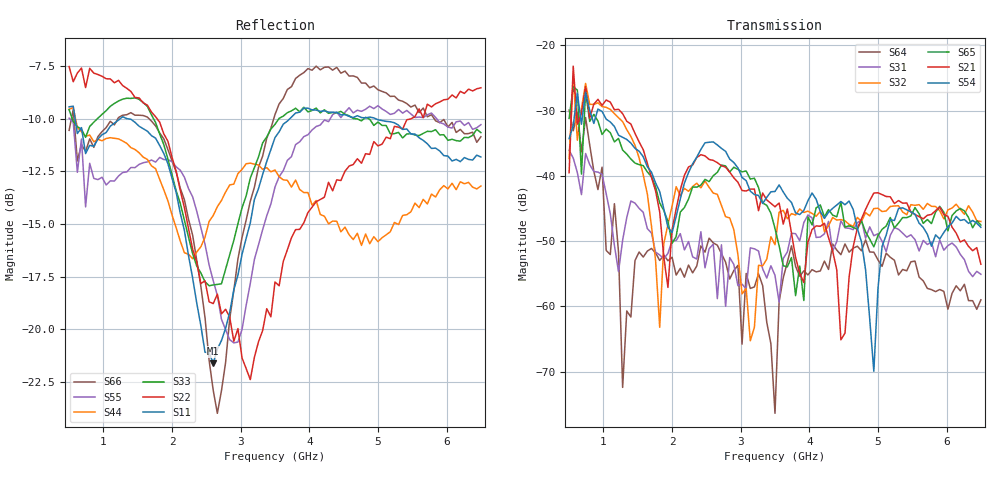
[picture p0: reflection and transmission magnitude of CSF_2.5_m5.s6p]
!Keysight Technologies,M9804A,MY58100912,A.14.10.03
!Date: Thursday, April 27, 2023 10:28:33
!Correction: S11(C  6-Port  )
!S12(C  6-Port  )
!S13(C  6-Port  )
!S14(C  6-Port  )
!S15(C  6-Port  )
!S16(C  6-Port  )
!S21(C  6-Port  )
!S22(C  6-Port  )
!S23(C  6-Port  )
!S24(C  6-Port  )
!S25(C  6-Port  )
!S26(C  6-Port  )
!S31(C  6-Port  )
!S32(C  6-Port  )
!S33(C  6-Port  )
!S34(C  6-Port  )
!S35(C  6-Port  )
!S36(C  6-Port  )
!S41(C  6-Port  )
!S42(C  6-Port  )
!S43(C  6-Port  )
!S44(C  6-Port  )
!S45(C  6-Port  )
!S46(C  6-Port  )
!S51(C  6-Port  )
!S52(C  6-Port  )
!S53(C  6-Port  )
!S54(C  6-Port  )
!S55(C  6-Port  )
!S56(C  6-Port  )
!S61(C  6-Port  )
!S62(C  6-Port  )
!S63(C  6-Port  )
!S64(C  6-Port  )
!S65(C  6-Port  )
!S66(C  6-Port  )
!S6P File: Measurement: :
# Hz S  RI  R 50
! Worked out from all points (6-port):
!   101 points, 500 MHz to 6.5 GHz, reference 50 ohm
!   strongest paths, dB at 500 MHz, 2 GHz, 3.5 GHz, 5 GHz, 6.5 GHz:
!     S54: -34.3, -48.7, -42.4, -57.3, -47.9
!     S21: -39.5, -48.3, -44.7, -42.6, -53.5
!     S65: -31.2, -50.4, -48.1, -49.2, -47.5
!     S32: -37.3, -44.6, -50.5, -45.0, -47.0
!     S31: -36.1, -49.9, -55.2, -48.9, -55.1
!     S64: -29.9, -52.5, -76.4, -52.9, -59.0
!   lowest |S11| = -21.6 dB at 2.6 GHz (marker M1), VSWR 1.18, Z = 42.6 + j1.98 ohm
!   |S11| at or under -10 dB: 587.8 MHz to 1.242 GHz (654.2 MHz wide, 71.5 % of centre); 1.362 GHz to 3.714 GHz (2.352 GHz wide, 92.7 % of centre); 4.97 GHz to end of sweep
